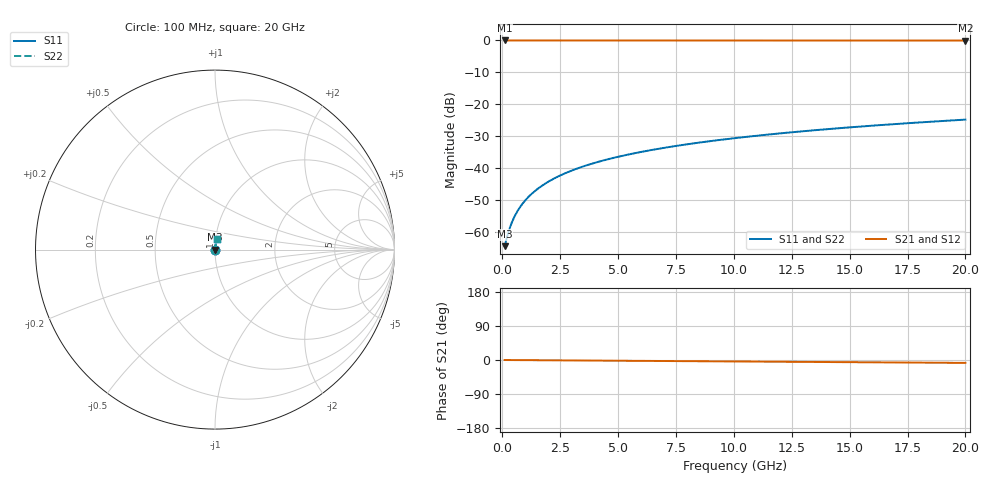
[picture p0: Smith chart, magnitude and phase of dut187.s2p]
! Touchstone file exported from HFSS 2026.1.0
!  File:  C:/ffzhzh/LocalFiles/Ansys_Project_Files/temp_train_TSV_187_1782991428_41620.aedt
!  Generated:  07:25:43 PM Jul  2, 2026
!  Design:  TSV
!  Project:  temp_train_TSV_187_1782991428_41620
! Variables:
!  h_bsmrdl = 2um
!  h_ox = 20um
!  h_rdl = 5um
!  h_sub = 68.44um
!  h_tmrdl = 5um
!  h_tsv = 68.44um
!  h_via = 3um
!  l_bsmrdl = 300um
!  l_sub = 408.12um
!  l_tmrdl = 200um
!  m_sub = 200um
!  pitch = 32.49um
!  r_tsv = 4.06um
!  s_tmrdl = 10um
!  w_bsmrdl = 18um
!  w_sub = 500um
!  w_tmrdl = 12um
!  x_tsv_center1 = 206um
!  x_tsv_center2 = 524um
!  x_tsv_center3 = 736um
!  x_tsv_center4 = 1054um
!  x_tsv_center5 = 1266um
!  x_tsv_center6 = 1584um
# GHz S MA R 50.000000
! Terminal data exported
! Port[1] = TSV1_1_T1
! Port[2] = TSV1_1_T2
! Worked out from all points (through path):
!   200 points, 100 MHz to 20 GHz, reference 50 ohm
!   highest |S21| = 0.00 dB at 100 MHz (marker M1); lowest = 0.0 dB at 20 GHz (marker M2)
!   group delay of S21, straight-line fit = 1.06 ps
!   lowest |S11| = -64.4 dB at 100 MHz (marker M3), VSWR 1.00, Z = 50.1 + j0.0325 ohm
!   |S11| at or under -10 dB: start of sweep to end of sweep
!   |S22| runs from -64.4 to -24.8 dB; largest |S21 - S12| = 4.4e-15
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0.1  0.0006023 32.6  0.9995 -0.0  0.9995 -0.0  0.0006023 32.6
! Gamma 0 0 0 0
! Port Impedance 50 0 50 0
0.2  0.0008275 51.2  0.9995 -0.1  0.9995 -0.1  0.0008275 51.2
0.3  0.001096 60.9  0.9995 -0.1  0.9995 -0.1  0.001096 60.9
0.4  0.00138 66.7  0.9995 -0.2  0.9995 -0.2  0.00138 66.7
0.5  0.00167 70.5  0.9994 -0.2  0.9994 -0.2  0.00167 70.5
0.6  0.001964 73.1  0.9994 -0.2  0.9994 -0.2  0.001964 73.1
0.8  0.002559 76.6  0.9994 -0.3  0.9994 -0.3  0.002559 76.6
1.1  0.003462 79.6  0.9994 -0.4  0.9994 -0.4  0.003462 79.6
1.3  0.004066 80.8  0.9994 -0.5  0.9994 -0.5  0.004066 80.8
1.6  0.004975 81.9  0.9993 -0.6  0.9993 -0.6  0.004975 81.9
2.1  0.006488 83.0  0.9993 -0.8  0.9993 -0.8  0.006488 83.0
2.7  0.008295 83.7  0.9992 -1.1  0.9992 -1.1  0.008295 83.7
3.5  0.01068 84.0  0.9991 -1.4  0.9991 -1.4  0.01068 84.0
4.2  0.01275 84.0  0.999 -1.6  0.999 -1.6  0.01275 84.0
5  0.0151 84.0  0.9988 -1.9  0.9988 -1.9  0.0151 84.0
5.9  0.01771 83.9  0.9987 -2.3  0.9987 -2.3  0.01771 83.9
6.8  0.02031 83.7  0.9985 -2.6  0.9985 -2.6  0.02031 83.7
8.3  0.0246 83.4  0.9982 -3.2  0.9982 -3.2  0.0246 83.4
10.1  0.02973 83.0  0.9979 -3.9  0.9979 -3.9  0.02973 83.0
13.4  0.03908 82.1  0.9974 -5.1  0.9974 -5.1  0.03908 82.1
16.7  0.04838 81.2  0.9968 -6.4  0.9968 -6.4  0.04838 81.2
20  0.05762 80.1  0.9961 -7.6  0.9961 -7.6  0.05762 80.1
